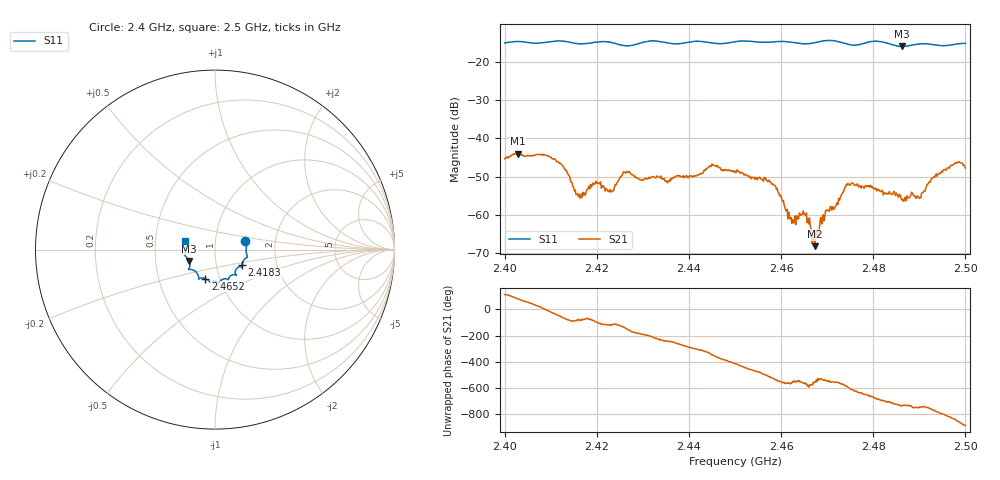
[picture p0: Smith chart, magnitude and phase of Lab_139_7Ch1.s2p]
# Hz S RI R 50
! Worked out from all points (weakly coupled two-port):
!   601 points, 2.4 GHz to 2.5 GHz, reference 50 ohm
!   highest |S21| = -43.99 dB at 2.4028 GHz (marker M1); lowest = -68.1 dB at 2.4673 GHz (marker M2)
!   lowest |S11| = -16.1 dB at 2.4862 GHz (marker M3), VSWR 1.37, Z = 37.2 - j4.87 ohm
!   |S11| at or under -10 dB: start of sweep to end of sweep
!   S12 and S22 are empty: the file has one direction only
!   S11 on the Smith chart (normalised r, x): 2.4 GHz: 1.40, +0.14; 2.4183 GHz: 1.33, -0.24; 2.4652 GHz: 0.85, -0.28; 2.5 GHz: 0.71, +0.07
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2.4e9  0.168 0.0471  -0.00216 0.00492  0 0  0 0
2.402833e9  0.1794 0.0331  0.000941 0.00624  0 0  0 0
2.411167e9  0.181 -0.0387  0.00405 -0.00308  0 0  0 0
2.416667e9  0.1555 -0.0679  0.000507 -0.00181  0 0  0 0
2.418333e9  0.1502 -0.0862  0.000827 -0.00224  0 0  0 0
2.423167e9  0.1482 -0.0972  -0.000844 -0.0018  0 0  0 0
2.426167e9  0.1247 -0.1012  -0.00277 -0.00225  0 0  0 0
2.433333e9  0.1171 -0.1416  -0.00214 0.0023  0 0  0 0
2.445333e9  0.0598 -0.1626  0.00441 0.000818  0 0  0 0
2.45e9  0.0259 -0.1794  0.00221 -0.00297  0 0  0 0
2.458167e9  -0.0176 -0.1789  -0.00243 -0.000699  0 0  0 0
2.462333e9  -0.0333 -0.1749  -0.000727 0.000276  0 0  0 0
2.465167e9  -0.0546 -0.1613  -0.000951 0.000336  0 0  0 0
2.466667e9  -0.0707 -0.1577  -0.000353 0.000239  0 0  0 0
2.467333e9  -0.0775 -0.1582  -0.000379 9.72e-05  0 0  0 0
2.469667e9  -0.0904 -0.1635  -0.00114 3.64e-05  0 0  0 0
2.474333e9  -0.0966 -0.1381  -0.00166 0.0018  0 0  0 0
2.483333e9  -0.1415 -0.0966  0.00182 0.000478  0 0  0 0
2.486167e9  -0.1433 -0.0639  0.00151 -0.00047  0 0  0 0
2.489833e9  -0.1651 -0.0372  0.00151 -0.000831  0 0  0 0
2.497333e9  -0.1632 0.0296  -0.0017 -0.00417  0 0  0 0
2.5e9  -0.1656 0.0475  -0.00395 -0.00106  0 0  0 0
